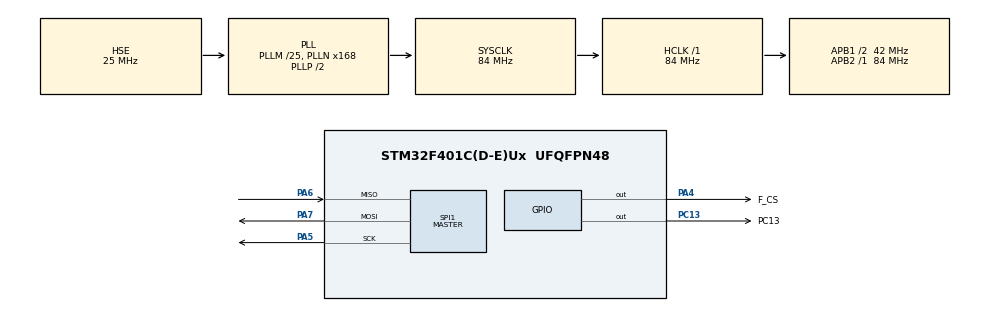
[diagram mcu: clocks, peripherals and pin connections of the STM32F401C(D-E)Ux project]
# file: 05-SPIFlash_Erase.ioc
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Mcu.Family=STM32F4
Mcu.Name=STM32F401C(D-E)Ux
Mcu.Package=UFQFPN48
NVIC.PriorityGroup=NVIC_PRIORITYGROUP_4
PA13.Mode=Serial_Wire
PA13.Signal=SYS_JTMS-SWDIO
PA14.Mode=Serial_Wire
PA14.Signal=SYS_JTCK-SWCLK
PA4.GPIO_Label=F_CS
PA4.Signal=GPIO_Output
PA5.Mode=Full_Duplex_Master
PA5.Signal=SPI1_SCK
PA6.Mode=Full_Duplex_Master
PA6.Signal=SPI1_MISO
PA7.Mode=Full_Duplex_Master
PA7.Signal=SPI1_MOSI
PC13-ANTI_TAMP.GPIO_Label=PC13
PC13-ANTI_TAMP.PinState=GPIO_PIN_SET
PC13-ANTI_TAMP.Signal=GPIO_Output
PH0\ -\ OSC_IN.Mode=HSE-External-Oscillator
PH0\ -\ OSC_IN.Signal=RCC_OSC_IN
PH1\ -\ OSC_OUT.Mode=HSE-External-Oscillator
PH1\ -\ OSC_OUT.Signal=RCC_OSC_OUT
ProjectManager.HeapSize=0x200
ProjectManager.StackSize=0x400
ProjectManager.TargetToolchain=MDK-ARM V5.27
RCC.48MHZClocksFreq_Value=42000000
RCC.AHBFreq_Value=84000000
RCC.APB1CLKDivider=RCC_HCLK_DIV2
RCC.APB1Freq_Value=42000000
RCC.APB1TimFreq_Value=84000000
RCC.APB2Freq_Value=84000000
RCC.APB2TimFreq_Value=84000000
RCC.CortexFreq_Value=84000000
RCC.HCLKFreq_Value=84000000
RCC.HSE_VALUE=25000000
RCC.HSI_VALUE=16000000
RCC.LSE_VALUE=32768
RCC.PLLM=25
RCC.PLLN=168
RCC.PLLSourceVirtual=RCC_PLLSOURCE_HSE
RCC.SYSCLKFreq_VALUE=84000000
RCC.SYSCLKSource=RCC_SYSCLKSOURCE_PLLCLK
RCC.VCOOutputFreq_Value=168000000
SPI1.Direction=SPI_DIRECTION_2LINES
SPI1.Mode=SPI_MODE_MASTER
SPI1.VirtualType=VM_MASTER
board=custom

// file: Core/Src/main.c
/* USER CODE BEGIN Header */

// WeAct Studio 微行工作室
// https://github.com/WeActStudio/
// 淘宝搜索：WeAct Studio
// STM32F401CEU6 Core Board
// Board Version: V3.0
// 收到的板子没有Logo `WeAct` && `版本号` 的均不是我们生产，很有可能为盗版
// >> 05-SPIFlash_Erase

 /*
  *power by WeAct Studio
  *The board with `WeAct` Logo && `version number` is our board, quality guarantee.
  *For more information please visit: https://github.com/WeActStudio/MiniF4-STM32F4x1
  *更多信息请访问：https://gitee.com/WeActStudio/MiniF4-STM32F4x1
  */

/**
  ******************************************************************************
  * @file           : main.c
  * @brief          : Main program body
  ******************************************************************************
  * @attention
  *
  * <h2><center>&copy; Copyright (c) 2020 STMicroelectronics.
  * All rights reserved.</center></h2>
  *
  * This software component is licensed by ST under BSD 3-Clause license,
  * the "License"; You may not use this file except in compliance with the
  * License. You may obtain a copy of the License at:
  *                        opensource.org/licenses/BSD-3-Clause
  *
  ******************************************************************************
  */
/* USER CODE END Header */

#include "main.h"
#include "spi.h"
#include "gpio.h"

/* USER CODE BEGIN Includes */
#include "w25qxx.h"
/* USER CODE END Includes */

void SystemClock_Config(void);

/* USER CODE BEGIN 0 */
static void LED_Blink(uint32_t Hdelay,uint32_t Ldelay)
{
	HAL_GPIO_WritePin(PC13_GPIO_Port,PC13_Pin,GPIO_PIN_RESET);
	HAL_Delay(Hdelay - 1);
	HAL_GPIO_WritePin(PC13_GPIO_Port,PC13_Pin,GPIO_PIN_SET);
	HAL_Delay(Ldelay-1);
}
/* USER CODE END 0 */

int main(void)
{
  /* USER CODE BEGIN 1 */
  uint8_t result;
  /* USER CODE END 1 */

  /* MCU Configuration--------------------------------------------------------*/

  /* Reset of all peripherals, Initializes the Flash interface and the Systick. */
  HAL_Init();

  /* Configure the system clock */
  SystemClock_Config();

  /* Initialize all configured peripherals */
  MX_GPIO_Init();
  MX_SPI1_Init();
  /* USER CODE BEGIN 2 */
  W25Qx_Init();
	if(W25Qx_Para.FLASH_ID < W25Q80 || W25Qx_Para.FLASH_ID > W25Q128)
	{
		// SPI Flash ID Error
		while(1)
		{
			LED_Blink(50,50);
			HAL_PWR_EnterSLEEPMode(PWR_LOWPOWERREGULATOR_ON,PWR_SLEEPENTRY_WFI);
		}
	}
  /* USER CODE END 2 */

  /* Infinite loop */
  while (1)
  {

    /* USER CODE BEGIN 3 */

		// Start Erase ...
		LED_Blink(300,80);
		LED_Blink(300,80);
		HAL_GPIO_WritePin(PC13_GPIO_Port,PC13_Pin,GPIO_PIN_RESET);
		result = W25Qx_Erase_Chip();

		while(1)
		{
			// Erase Done
			if(result == W25Qx_OK)
				LED_Blink(50,500);
			else
			// Erase Error
				LED_Blink(500,500);
			HAL_PWR_EnterSLEEPMode(PWR_LOWPOWERREGULATOR_ON,PWR_SLEEPENTRY_WFI);
		}

  }
  /* USER CODE END 3 */
}

void SystemClock_Config(void)
{
  RCC_OscInitTypeDef RCC_OscInitStruct = {0};
  RCC_ClkInitTypeDef RCC_ClkInitStruct = {0};

  /** Configure the main internal regulator output voltage
  */
  __HAL_RCC_PWR_CLK_ENABLE();
  __HAL_PWR_VOLTAGESCALING_CONFIG(PWR_REGULATOR_VOLTAGE_SCALE2);
  /** Initializes the CPU, AHB and APB busses clocks
  */
  RCC_OscInitStruct.OscillatorType = RCC_OSCILLATORTYPE_HSE;
  RCC_OscInitStruct.HSEState = RCC_HSE_ON;
  RCC_OscInitStruct.PLL.PLLState = RCC_PLL_ON;
  RCC_OscInitStruct.PLL.PLLSource = RCC_PLLSOURCE_HSE;
  RCC_OscInitStruct.PLL.PLLM = 25;
  RCC_OscInitStruct.PLL.PLLN = 168;
  RCC_OscInitStruct.PLL.PLLP = RCC_PLLP_DIV2;
  RCC_OscInitStruct.PLL.PLLQ = 4;
  if (HAL_RCC_OscConfig(&RCC_OscInitStruct) != HAL_OK)
  {
    Error_Handler();
  }
  /** Initializes the CPU, AHB and APB busses clocks
  */
  RCC_ClkInitStruct.ClockType = RCC_CLOCKTYPE_HCLK|RCC_CLOCKTYPE_SYSCLK
                              |RCC_CLOCKTYPE_PCLK1|RCC_CLOCKTYPE_PCLK2;
  RCC_ClkInitStruct.SYSCLKSource = RCC_SYSCLKSOURCE_PLLCLK;
  RCC_ClkInitStruct.AHBCLKDivider = RCC_SYSCLK_DIV1;
  RCC_ClkInitStruct.APB1CLKDivider = RCC_HCLK_DIV2;
  RCC_ClkInitStruct.APB2CLKDivider = RCC_HCLK_DIV1;

  if (HAL_RCC_ClockConfig(&RCC_ClkInitStruct, FLASH_LATENCY_2) != HAL_OK)
  {
    Error_Handler();
  }
}

void Error_Handler(void)
{
}

/************************ (C) COPYRIGHT STMicroelectronics *****END OF FILE****/
